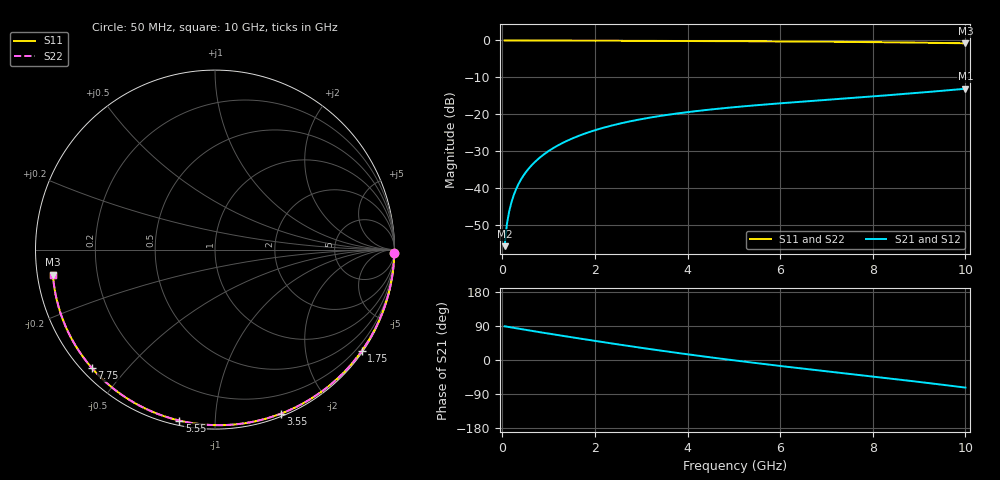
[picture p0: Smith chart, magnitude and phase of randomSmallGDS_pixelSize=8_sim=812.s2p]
! freq	dB(S11)	phase(S11)	dB(S12)	phase(S12)
!  dB(S21)	phase(S21)	dB(S22)	phase(S22)
!S-par simulation data
#  GHz  S  DB  R 50
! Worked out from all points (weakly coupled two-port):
!   200 points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, 50 MHz to 10 GHz, reference 50 ohm
!   highest |S21| = -13.13 dB at 10 GHz (marker M1); lowest = -55.9 dB at 50 MHz (marker M2)
!   lowest |S11| = -0.8 dB at 10 GHz (marker M3), VSWR 22.22, Z = 2.26 - j3.83 ohm
!   |S11| at or under -10 dB: nowhere
!   |S22| runs from -0.8 to 0.0 dB; largest |S21 - S12| = 0
!   S11 on the Smith chart (normalised r, x): 50 MHz: open; 1.75 GHz: 0.04, -3.20; 3.55 GHz: 0.02, -1.48; 5.55 GHz: 0.02, -0.81; 7.75 GHz: 0.03, -0.40; 10 GHz: 0.05, -0.08
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0.05  -0.01 -1.0  -55.88 89.0  -55.88 89.0  -0.01 -1.0
0.1  -0.01 -2.0  -49.86 87.9  -49.86 87.9  -0.01 -2.0
0.15  -0.01 -3.0  -46.34 86.9  -46.34 86.9  -0.01 -3.0
0.2  -0.01 -4.0  -43.84 85.8  -43.84 85.8  -0.01 -4.0
0.25  -0.01 -5.0  -41.91 84.8  -41.91 84.8  -0.01 -5.0
0.35  -0.01 -7.0  -39.00 82.7  -39.00 82.7  -0.01 -7.0
0.5  -0.01 -10.0  -35.93 79.7  -35.93 79.7  -0.01 -10.0
0.7  -0.02 -14.0  -33.05 75.6  -33.05 75.6  -0.02 -14.0
1  -0.03 -20.0  -30.04 69.7  -30.04 69.7  -0.03 -20.0
1.35  -0.04 -26.9  -27.55 62.8  -27.55 62.8  -0.04 -26.9
1.75  -0.06 -34.7  -25.45 55.2  -25.45 55.2  -0.06 -34.7
2.6  -0.09 -50.8  -22.41 39.3  -22.41 39.3  -0.09 -50.8
3.4  -0.12 -65.4  -20.53 25.1  -20.53 25.1  -0.12 -65.4
3.55  -0.13 -68.0  -20.24 22.6  -20.24 22.6  -0.13 -68.0
4.3  -0.17 -81.1  -19.03 10.1  -19.03 10.1  -0.17 -81.1
5.05  -0.21 -93.7  -18.08 -1.6  -18.08 -1.6  -0.21 -93.6
5.55  -0.24 -101.8  -17.53 -9.2  -17.53 -9.2  -0.24 -101.8
6.7  -0.32 -119.9  -16.42 -25.6  -16.42 -25.6  -0.32 -119.9
7.75  -0.43 -136.1  -15.44 -40.2  -15.44 -40.2  -0.43 -136.1
8.35  -0.50 -145.3  -14.86 -48.6  -14.86 -48.6  -0.50 -145.2
9.2  -0.63 -158.4  -13.99 -60.8  -13.99 -60.8  -0.63 -158.4
10  -0.78 -171.2  -13.13 -72.8  -13.13 -72.8  -0.78 -171.2
